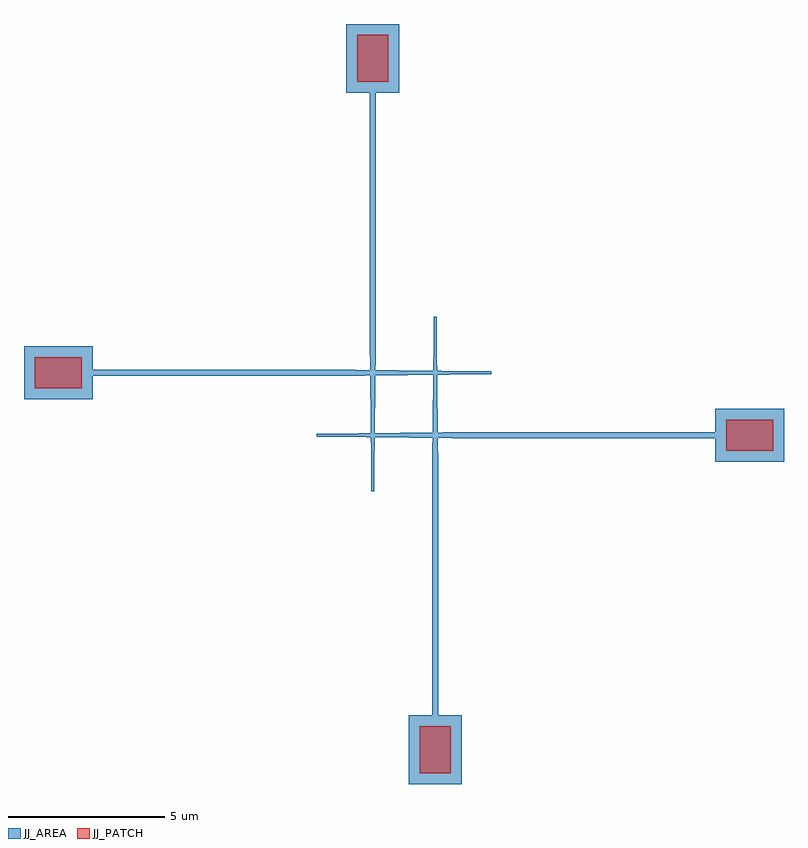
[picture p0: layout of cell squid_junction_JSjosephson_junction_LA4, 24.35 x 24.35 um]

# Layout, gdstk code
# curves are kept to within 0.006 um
from math import pi, radians
import gdstk
lib = gdstk.Library(unit=1e-6, precision=1e-09)
def R(c, l, rs):  # rectangles x0, y0, x1, y1
    for r in rs: c.add(gdstk.rectangle(r[:2], r[2:], *l))
def P(c, l, *ps):  # polygons
    for p in ps: c.add(gdstk.Polygon(p, *l))
JJ_AREA = (20, 0)
JJ_PATCH = (20, 1)

straight_l8p3_csjosephso = lib.new_cell('straight_L8p3_CSjosephson_junction_cross_section_wide_WNone_N2')
R(straight_l8p3_csjosephso, JJ_AREA, [(0,-0.1,8.3,0.1)])

taper_cross_section_gdsf = lib.new_cell('taper_cross_section_gdsfactorypcomponentsptapersptaper__1a505e43')
P(taper_cross_section_gdsf, JJ_AREA, [(0,-0.1),(0,0.1),(4.7,0.045),(4.7,-0.045)])

straight_l0p5_csjosephso = lib.new_cell('straight_L0p5_CSjosephson_junction_cross_section_narrow_WNone_N2')
R(straight_l0p5_csjosephso, JJ_AREA, [(0,-0.045,0.5,0.045)])

rectangle_gdsfactorypcom = lib.new_cell('rectangle_gdsfactorypcomponentspshapesprectangle_S1p5_1_4f32cade')
R(rectangle_gdsfactorypcom, JJ_PATCH, [(-0.75,-0.5,0.75,0.5)])

single_josephson_junctio = lib.new_cell('single_josephson_junction_wire_WSL8p3_NSL0p5_TL4p7_CSWj_05ba299d')
R(single_josephson_junctio, JJ_AREA, [(-1.475,-0.85,0.725,0.85)])
single_josephson_junctio.add(gdstk.Reference(straight_l8p3_csjosephso, (0,0)))
single_josephson_junctio.add(gdstk.Reference(taper_cross_section_gdsf, (8.3,0)))
single_josephson_junctio.add(gdstk.Reference(straight_l0p5_csjosephso, (13,0)))
single_josephson_junctio.add(gdstk.Reference(rectangle_gdsfactorypcom, (-0.375,0)))

josephson_junction_jod1p = lib.new_cell('josephson_junction_JOD1p8_WSL8p3_NSL0p5_TL4p7_CSWjoseph_5d9a8aff')
josephson_junction_jod1p.add(gdstk.Reference(single_josephson_junctio, (13.5,-11.7), rotation=pi/2))
josephson_junction_jod1p.add(gdstk.Reference(single_josephson_junctio, (1.8,0)))

squid_junction_jsjosephs = lib.new_cell('squid_junction_JSjosephson_junction_LA4')
squid_junction_jsjosephs.add(gdstk.Reference(josephson_junction_jod1p, (0,0)))
squid_junction_jsjosephs.add(gdstk.Reference(josephson_junction_jod1p, (25,-2), rotation=pi))

lib.write_gds('squid_junction_JSjosephson_junction_LA4.gds')
